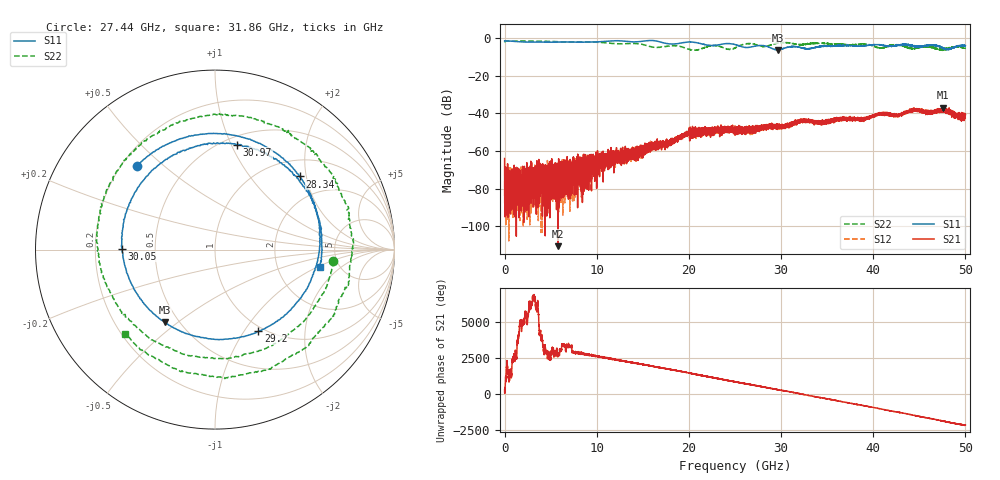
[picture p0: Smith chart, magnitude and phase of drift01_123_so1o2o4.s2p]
!Created with skrf (http://scikit-rf.org).
# Hz S RI R 50.0
!freq ReS11 ImS11 ReS21 ImS21 ReS12 ImS12 ReS22 ImS22
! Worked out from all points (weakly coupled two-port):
!   10001 points, 300 kHz to 50 GHz, reference 50 ohm
!   highest |S21| = -36.89 dB at 47.56 GHz (marker M1); lowest = -110.7 dB at 5.795 GHz (marker M2)
!   lowest |S11| = -6.2 dB at 29.64 GHz (marker M3), VSWR 2.93, Z = 21 - j22.3 ohm
!   |S11| at or under -10 dB: nowhere
!   |S22| runs from -6.4 to -1.4 dB; largest |S21 - S12| = 0.004
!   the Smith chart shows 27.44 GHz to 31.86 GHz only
!   S11 on the Smith chart (normalised r, x): 27.44 GHz: 0.26, +0.41; 28.34 GHz: 1.37, +1.83; 29.2 GHz: 0.94, -1.17; 30.05 GHz: 0.32, +0.00; 30.97 GHz: 0.58, +1.05; 31.86 GHz: 3.54, -1.07
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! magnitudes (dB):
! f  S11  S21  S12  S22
! 300 kHz  -1.3  -64.0  -83.7  -2.1
! 255.3 MHz  -1.4  -76.3  -76.7  -1.4
! 465.3 MHz  -1.4  -71.8  -107.9  -1.4
! 5.795 GHz  -2.0  -110.7  -70.1  -1.8
! 8.335 GHz  -2.0  -71.5  -66.7  -1.8
! 8.745 GHz  -2.0  -77.9  -73.9  -1.8
! 16.67 GHz  -1.6  -54.8  -55.7  -4.8
! 18.62 GHz  -2.9  -52.9  -53.8  -3.9
! 20.37 GHz  -2.0  -49.6  -50.7  -6.3
! 22.62 GHz  -3.8  -48.9  -48.6  -3.8
! 25 GHz  -3.3  -48.2  -48.8  -5.1
! 27.44 GHz  -3.9  -47.5  -47.6  -3.6
! 28.34 GHz  -4.1  -48.0  -47.0  -4.3
! 29.2 GHz  -5.7  -46.9  -47.0  -3.0
! 29.64 GHz  -6.2  -46.6  -46.5  -2.5
! 30.05 GHz  -5.7  -46.3  -46.9  -2.3
! 30.97 GHz  -4.5  -45.2  -45.6  -2.5
! 31.86 GHz  -4.6  -44.7  -44.9  -3.3
! 33.34 GHz  -5.2  -43.6  -44.4  -2.7
! 41.67 GHz  -4.3  -39.6  -40.2  -4.0
! 47.56 GHz  -5.0  -36.9  -38.4  -5.5
! 50 GHz  -3.8  -40.6  -41.2  -5.3
